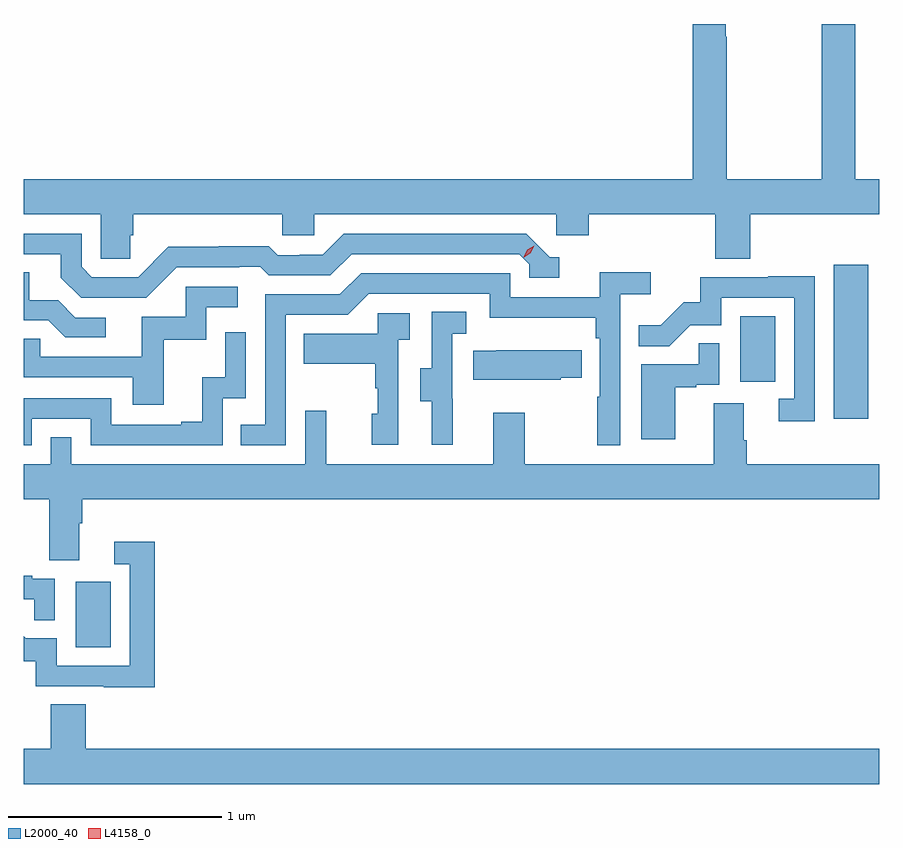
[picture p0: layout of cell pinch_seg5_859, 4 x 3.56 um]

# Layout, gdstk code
import gdstk
lib = gdstk.Library(unit=1e-6, precision=1e-09)
def R(c, l, rs):  # rectangles x0, y0, x1, y1
    for r in rs: c.add(gdstk.rectangle(r[:2], r[2:], *l))
def P(c, l, *ps):  # polygons
    for p in ps: c.add(gdstk.Polygon(p, *l))
L2000_40 = (2000, 40)
L4158_0 = (4158, 0)

pinch_seg5_859 = lib.new_cell('pinch_seg5_859')
R(pinch_seg5_859, L2000_40, [(854.228,890.7,854.392,891.007), (857.774,891.768,857.935,892.489), (857.336,891.942,857.5,892.249)])
P(pinch_seg5_859, L2000_40, [(854.483,892.626),(854.498,892.626),(854.498,892.724),(855.195,892.724),(855.195,892.626),(855.345,892.626),(855.345,892.724),(856.476,892.724),(856.476,892.626),(856.628,892.626),(856.628,892.724),(857.219,892.724),(857.219,892.516),(857.384,892.516),(857.384,892.724),(857.986,892.724),(857.986,892.888),(857.874,892.888),(857.874,893.615),(857.719,893.615),(857.719,892.888),(857.274,892.888),(857.274,893.555),(857.269,893.555),(857.269,893.615),(857.114,893.615),(857.114,892.888),(853.986,892.888),(853.986,892.724),(854.346,892.724),(854.346,892.516),(854.483,892.516)],
  [(854.7,892.476),(854.993,892.476),(854.993,892.479),(855.092,892.479),(855.131,892.44),(855.42,892.44),(855.519,892.539),(856.302,892.539),(856.35,892.491),(856.35,892.428),(856.489,892.428),(856.489,892.524),(856.446,892.524),(856.335,892.635),(855.482,892.635),(855.383,892.536),(855.276,892.536),(855.276,892.533),(855.173,892.533),(855.131,892.576),(854.898,892.576),(854.898,892.573),(854.662,892.573),(854.52,892.431),(854.304,892.431),(854.256,892.479),(854.256,892.635),(853.986,892.635),(853.986,892.539),(854.159,892.539),(854.159,892.429),(854.253,892.335),(854.559,892.335)],
  [(855.21,892.254),(855.501,892.254),(855.6,892.353),(856.164,892.353),(856.164,892.241),(856.66,892.241),(856.66,892.145),(856.68,892.145),(856.68,891.872),(856.668,891.872),(856.668,891.645),(856.776,891.645),(856.776,892.352),(856.918,892.352),(856.918,892.454),(856.679,892.454),(856.679,892.338),(856.26,892.338),(856.26,892.449),(855.563,892.449),(855.464,892.35),(855.114,892.35),(855.114,891.741),(855.001,891.741),(855.001,891.645),(855.21,891.645)],
  [(854.368,892.242),(854.226,892.242),(854.146,892.322),(854.011,892.322),(854.011,892.454),(853.986,892.454),(853.986,892.23),(854.099,892.23),(854.18,892.149),(854.368,892.149)],
  [(857.685,892.436),(857.467,892.436),(857.467,892.431),(857.149,892.431),(857.149,892.314),(857.072,892.314),(856.965,892.207),(856.861,892.207),(856.861,892.108),(857.005,892.108),(857.103,892.206),(857.247,892.206),(857.247,892.335),(857.589,892.335),(857.589,891.861),(857.517,891.861),(857.517,891.756),(857.685,891.756)],
  [(854.639,892.137),(854.838,892.137),(854.838,892.29),(854.986,892.29),(854.986,892.386),(854.742,892.386),(854.742,892.245),(854.537,892.245),(854.537,892.059),(854.063,892.059),(854.063,892.143),(853.986,892.143),(853.986,891.963),(854.495,891.963),(854.495,891.834),(854.639,891.834)],
  [(855.992,891.861),(855.99,891.861),(855.99,892.165),(856.054,892.165),(856.054,892.268),(855.894,892.268),(855.894,892.005),(855.839,892.005),(855.839,891.85),(855.893,891.85),(855.893,891.648),(855.992,891.648)],
  [(855.738,892.139),(855.79,892.139),(855.79,892.263),(855.642,892.263),(855.642,892.165),(855.295,892.165),(855.295,892.025),(855.63,892.025),(855.63,891.911),(855.64,891.911),(855.64,891.792),(855.614,891.792),(855.614,891.648),(855.738,891.648)],
  [(854.022,891.768),(854.298,891.768),(854.298,891.645),(854.916,891.645),(854.916,891.864),(855.024,891.864),(855.024,892.174),(854.928,892.174),(854.928,891.962),(854.819,891.962),(854.819,891.754),(854.723,891.754),(854.723,891.741),(854.394,891.741),(854.394,891.864),(853.986,891.864),(853.986,891.645),(854.022,891.645)],
  [(857.032,891.915),(857.132,891.915),(857.132,891.927),(857.238,891.927),(857.238,892.121),(857.143,892.121),(857.143,892.023),(856.874,892.023),(856.874,891.672),(857.032,891.672)],
  [(856.497,891.961),(856.595,891.961),(856.595,892.09),(856.195,892.09),(856.195,892.087),(856.087,892.087),(856.087,891.95),(856.497,891.95)],
  [(854.245,891.28),(854.258,891.28),(854.258,891.392),(857.986,891.392),(857.986,891.556),(857.366,891.556),(857.366,891.668),(857.353,891.668),(857.353,891.842),(857.213,891.842),(857.213,891.556),(856.329,891.556),(856.329,891.796),(856.181,891.796),(856.181,891.556),(855.401,891.556),(855.401,891.805),(855.303,891.805),(855.303,891.556),(854.208,891.556),(854.208,891.683),(854.112,891.683),(854.112,891.556),(853.986,891.556),(853.986,891.392),(854.105,891.392),(854.105,891.106),(854.245,891.106)],
  [(854.597,891.193),(854.409,891.193),(854.409,891.087),(854.481,891.087),(854.481,890.613),(854.139,890.613),(854.139,890.742),(853.995,890.742),(853.986,890.751),(853.986,890.634),(854.041,890.634),(854.041,890.517),(854.359,890.517),(854.359,890.512),(854.597,890.512)],
  [(854.13,891.021),(854.024,891.021),(854.024,891.034),(853.986,891.034),(853.986,890.925),(854.035,890.925),(854.035,890.827),(854.13,890.827)],
  [(857.986,890.224),(854.276,890.224),(854.276,890.432),(854.111,890.432),(854.111,890.224),(853.986,890.224),(853.986,890.06),(857.986,890.06)])
P(pinch_seg5_859, L4158_0, [(856.325,892.525),(856.325,892.526),(856.341,892.558),(856.372,892.578),(856.372,892.578),(856.372,892.578),(856.356,892.545),(856.326,892.525)])

lib.write_gds('pinch_seg5_859.gds')
